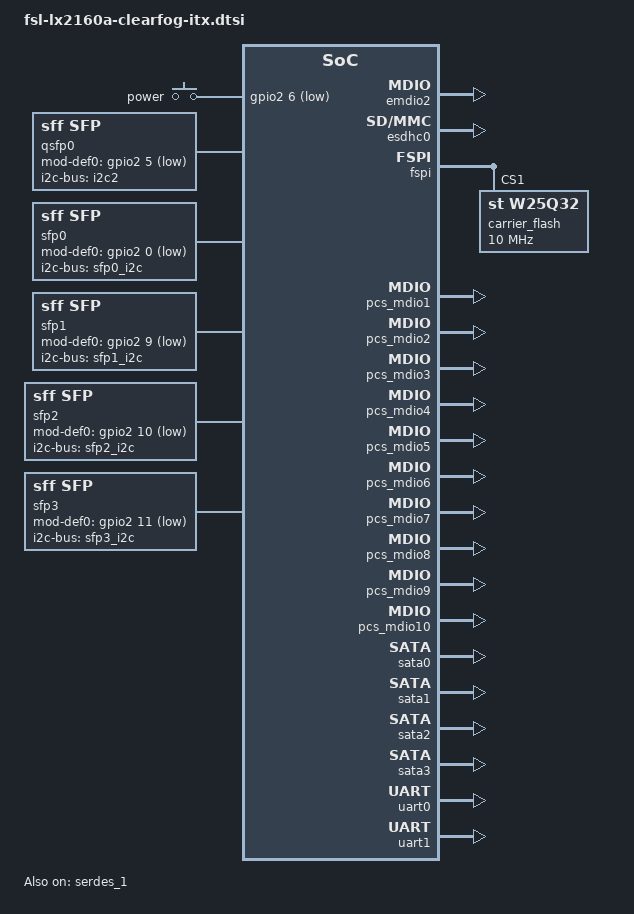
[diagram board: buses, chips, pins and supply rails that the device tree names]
// SPDX-License-Identifier: (GPL-2.0 OR MIT)
//
// Device Tree file for LX2160A Clearfog ITX board; this contains the
// common parts shared between the Clearfog CX and Honeycomb builds.
//
// Copyright 2019 SolidRun Ltd.

/dts-v1/;

#include "fsl-lx2160a-cex7.dtsi"
#include <dt-bindings/input/linux-event-codes.h>

/ {
	aliases {
		serial0 = &uart0;
		serial1 = &uart1;
	};

	chosen {
		stdout-path = "serial0:115200n8";
	};

	gpio-keys {
		compatible = "gpio-keys";

		key {
			label = "power";
			linux,can-disable;
			linux,code = <KEY_POWER>;
			gpios = <&gpio2 6 GPIO_ACTIVE_LOW>;
		};
	};

	qsfp0: qsfp-0 {
		compatible = "sff,sfp";
		i2c-bus = <&i2c2>;
		mod-def0-gpio = <&gpio2 5 GPIO_ACTIVE_LOW>; // GPO2 IRQ05 GPIO3_DAT05
		maximum-power-milliwatt = <8000>;
	};

	sfp0: sfp-0 {
		compatible = "sff,sfp";
		i2c-bus = <&sfp0_i2c>;
		mod-def0-gpio = <&gpio2 0 GPIO_ACTIVE_LOW>;
		maximum-power-milliwatt = <2000>;
	};

	sfp1: sfp-1 {
		compatible = "sff,sfp";
		i2c-bus = <&sfp1_i2c>;
		mod-def0-gpio = <&gpio2 9 GPIO_ACTIVE_LOW>;
		maximum-power-milliwatt = <2000>;
	};

	sfp2: sfp-2 {
		compatible = "sff,sfp";
		i2c-bus = <&sfp2_i2c>;
		mod-def0-gpio = <&gpio2 10 GPIO_ACTIVE_LOW>;
		maximum-power-milliwatt = <2000>;
	};

	sfp3: sfp-3 {
		compatible = "sff,sfp";
		i2c-bus = <&sfp3_i2c>;
		mod-def0-gpio = <&gpio2 11 GPIO_ACTIVE_LOW>;
		maximum-power-milliwatt = <2000>;
	};
};

&dpmac1 {
	managed = "in-band-status";
};

&dpmac2 {
	managed = "in-band-status";
};

&dpmac3 {
	sfp = <&qsfp0>;
	managed = "in-band-status";
	phys = <&serdes_1 7>;
};

&dpmac4 {
	managed = "in-band-status";
	phys = <&serdes_1 6>;
};

&dpmac5 {
	managed = "in-band-status";
	phys = <&serdes_1 5>;
};

&dpmac6 {
	managed = "in-band-status";
	phys = <&serdes_1 4>;
};

&dpmac7 {
	sfp = <&sfp0>;
	managed = "in-band-status";
	phys = <&serdes_1 3>;
};

&dpmac8 {
	sfp = <&sfp1>;
	managed = "in-band-status";
	phys = <&serdes_1 2>;
};

&dpmac9 {
	sfp = <&sfp2>;
	managed = "in-band-status";
	phys = <&serdes_1 1>;
};

&dpmac10 {
	sfp = <&sfp3>;
	managed = "in-band-status";
	phys = <&serdes_1 0>;
};

&emdio2 {
	status = "okay";
};

&esdhc0 {
	sd-uhs-sdr104;
	sd-uhs-sdr50;
	sd-uhs-sdr25;
	sd-uhs-sdr12;
	status = "okay";
};

&fspi {
	carrier_flash: w25q32@1 {
		#address-cells = <1>;
		#size-cells = <1>;
		compatible = "st,w25q32";
		spi-max-frequency = <10000000>;
		reg = <1>;
		spi-rx-bus-width = <1>;
		spi-tx-bus-width = <1>;
        };
};

&pcs_mdio1 {
	status = "okay";
};

&pcs_mdio2 {
	status = "okay";
};

&pcs_mdio3 {
	status = "okay";
};

&pcs_mdio4 {
	status = "okay";
};

&pcs_mdio5 {
	status = "okay";
};

&pcs_mdio6 {
	status = "okay";
};

&pcs_mdio7 {
	status = "okay";
};

&pcs_mdio8 {
	status = "okay";
};

&pcs_mdio9 {
	status = "okay";
};

&pcs_mdio10 {
	status = "okay";
};

&serdes_1 {
	status = "okay";
};

&serdes_2 {
	status = "disabled";
};

&sata0 {
	status = "okay";
};

&sata1 {
	status = "okay";
};

&sata2 {
	status = "okay";
};

&sata3 {
	status = "okay";
};

&uart0 {
	status = "okay";
};

&uart1 {
	status = "okay";
};
